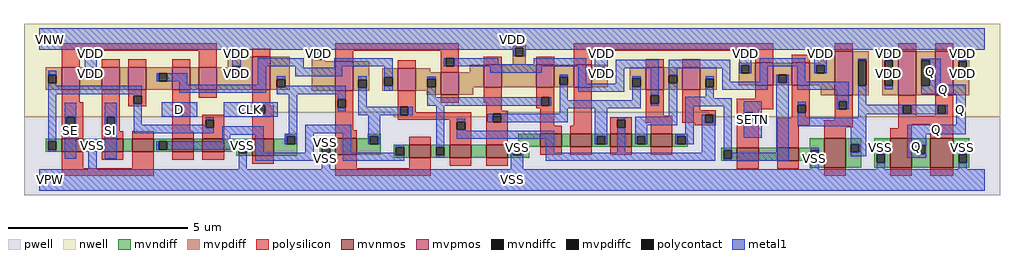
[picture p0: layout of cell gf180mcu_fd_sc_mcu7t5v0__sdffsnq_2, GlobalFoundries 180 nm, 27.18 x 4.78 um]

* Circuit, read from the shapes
.subckt gf180mcu_fd_sc_mcu7t5v0__sdffsnq_2 D SE SETN SI CLK Q VDD VNW VPW VSS
XM1 VSS SE n1 VPW nfet_06v0 w=0.36u l=0.6u
XM2 n2 SI VSS VPW nfet_06v0 w=0.36u l=0.6u
XM3 n3 SE n2 VPW nfet_06v0 w=0.36u l=0.6u
XM4 n4 D n3 VPW nfet_06v0 w=0.36u l=0.6u
XM5 VSS n1 n4 VPW nfet_06v0 w=0.36u l=0.6u
XM6 n5 CLK VSS VPW nfet_06v0 w=0.465u l=0.6u
XM7 n6 n5 VSS VPW nfet_06v0 w=0.465u l=0.6u
XM8 n7 n5 n3 VPW nfet_06v0 w=0.36u l=0.6u
XM9 n8 n6 n7 VPW nfet_06v0 w=0.36u l=0.6u
XM10 VSS n9 n8 VPW nfet_06v0 w=0.36u l=0.6u
XM11 n10 n7 VSS VPW nfet_06v0 w=0.36u l=0.6u
XM12 n9 SETN n10 VPW nfet_06v0 w=0.36u l=0.6u
XM13 n11 n6 n9 VPW nfet_06v0 w=0.36u l=0.6u
XM14 n12 n5 n11 VPW nfet_06v0 w=0.36u l=0.6u
XM15 n13 SETN n12 VPW nfet_06v0 w=0.36u l=0.6u
XM16 VSS n14 n13 VPW nfet_06v0 w=0.36u l=0.6u
XM17 n14 n11 VSS VPW nfet_06v0 w=0.82u l=0.6u
XM18 Q n14 VSS VPW nfet_06v0 w=0.82u l=0.6u
XM19 VSS n14 Q VPW nfet_06v0 w=0.82u l=0.64u
XM20 VDD SE n1 VNW pfet_06v0 w=0.63u l=0.5u
XM21 n15 SI VDD VNW pfet_06v0 w=0.63u l=0.5u
XM22 n16 n1 n15 VNW pfet_06v0 w=0.63u l=0.5u
XM23 n17 D n16 VNW pfet_06v0 w=0.63u l=0.5u
XM24 VDD SE n17 VNW pfet_06v0 w=0.63u l=0.5u
XM25 n5 CLK VDD VNW pfet_06v0 w=0.925u l=0.5u
XM26 n6 n5 VDD VNW pfet_06v0 w=0.815u l=0.5u
XM27 n7 n6 n16 VNW pfet_06v0 w=0.625u l=0.5u
XM28 n18 n5 n7 VNW pfet_06v0 w=0.625u l=0.5u
XM29 VDD n9 n18 VNW pfet_06v0 w=0.625u l=0.5u
XM30 n9 n7 VDD VNW pfet_06v0 w=0.625u l=0.5u
XM31 VDD SETN n9 VNW pfet_06v0 w=0.625u l=0.5u
XM32 n11 n5 n9 VNW pfet_06v0 w=0.625u l=0.5u
XM33 n12 n6 n11 VNW pfet_06v0 w=0.625u l=0.5u
XM34 n12 SETN VDD VNW pfet_06v0 w=0.625u l=0.5u
XM35 VDD n14 n12 VNW pfet_06v0 w=0.625u l=0.5u
XM36 n14 n11 VDD VNW pfet_06v0 w=1.22u l=0.5u
XM37 Q n14 VDD VNW pfet_06v0 w=1.22u l=0.5u m=2
.ends

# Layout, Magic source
magic
tech gf180mcuD
magscale 1 10
<< nwell >>
rect -86 377 5350 870
rect -86 352 1291 377
rect 1974 352 2594 377
rect 3730 352 5350 377
<< pwell >>
rect 1291 352 1974 377
rect 2594 352 3730 377
rect -86 -86 5350 352
<< mvnmos >>
rect 124 156 244 228
rect 348 156 468 228
rect 516 156 636 228
rect 740 156 860 228
rect 908 156 1028 228
rect 1185 135 1305 228
rect 1648 139 1768 232
rect 2060 124 2180 196
rect 2284 124 2404 196
rect 2488 124 2608 196
rect 2788 185 2908 257
rect 2956 185 3076 257
rect 3180 185 3300 257
rect 3404 185 3524 257
rect 3885 106 4005 178
rect 4110 106 4230 178
rect 4370 68 4490 232
rect 4738 68 4858 232
rect 4962 68 5090 232
<< mvpmos >>
rect 124 502 224 628
rect 348 502 448 628
rect 496 502 596 628
rect 740 502 840 628
rect 888 502 988 628
rect 1185 502 1285 687
rect 1648 497 1748 660
rect 1996 497 2096 622
rect 2236 474 2336 599
rect 2476 516 2576 641
rect 2768 516 2868 641
rect 2976 516 3076 641
rect 3377 503 3477 628
rect 3581 503 3681 628
rect 3987 527 4087 652
rect 4191 527 4291 652
rect 4431 472 4531 716
rect 4783 472 4883 716
rect 4990 472 5090 716
<< mvndiff >>
rect 1365 244 1437 257
rect 1365 228 1378 244
rect 36 215 124 228
rect 36 169 49 215
rect 95 169 124 215
rect 36 156 124 169
rect 244 215 348 228
rect 244 169 273 215
rect 319 169 348 215
rect 244 156 348 169
rect 468 156 516 228
rect 636 215 740 228
rect 636 169 665 215
rect 711 169 740 215
rect 636 156 740 169
rect 860 156 908 228
rect 1028 194 1185 228
rect 1028 156 1110 194
rect 1097 148 1110 156
rect 1156 148 1185 194
rect 1097 135 1185 148
rect 1305 198 1378 228
rect 1424 198 1437 244
rect 1828 244 1900 257
rect 1828 232 1841 244
rect 1305 135 1437 198
rect 1560 198 1648 232
rect 1560 152 1573 198
rect 1619 152 1648 198
rect 1560 139 1648 152
rect 1768 198 1841 232
rect 1887 198 1900 244
rect 1768 139 1900 198
rect 2668 196 2788 257
rect 1972 183 2060 196
rect 1972 137 1985 183
rect 2031 137 2060 183
rect 1972 124 2060 137
rect 2180 183 2284 196
rect 2180 137 2209 183
rect 2255 137 2284 183
rect 2180 124 2284 137
rect 2404 124 2488 196
rect 2608 185 2788 196
rect 2908 185 2956 257
rect 3076 244 3180 257
rect 3076 198 3105 244
rect 3151 198 3180 244
rect 3076 185 3180 198
rect 3300 244 3404 257
rect 3300 198 3329 244
rect 3375 198 3404 244
rect 3300 185 3404 198
rect 3524 244 3612 257
rect 3524 198 3553 244
rect 3599 198 3612 244
rect 3524 185 3612 198
rect 2608 183 2728 185
rect 2608 137 2637 183
rect 2683 137 2728 183
rect 4290 178 4370 232
rect 3797 165 3885 178
rect 2608 124 2728 137
rect 3797 119 3810 165
rect 3856 119 3885 165
rect 3797 106 3885 119
rect 4005 106 4110 178
rect 4230 165 4370 178
rect 4230 119 4295 165
rect 4341 119 4370 165
rect 4230 106 4370 119
rect 4290 68 4370 106
rect 4490 199 4578 232
rect 4490 153 4519 199
rect 4565 153 4578 199
rect 4490 68 4578 153
rect 4650 142 4738 232
rect 4650 96 4663 142
rect 4709 96 4738 142
rect 4650 68 4738 96
rect 4858 192 4962 232
rect 4858 146 4887 192
rect 4933 146 4962 192
rect 4858 68 4962 146
rect 5090 142 5178 232
rect 5090 96 5119 142
rect 5165 96 5178 142
rect 5090 68 5178 96
<< mvpdiff >>
rect 1516 716 1588 729
rect 1048 634 1185 687
rect 1048 628 1075 634
rect 36 585 124 628
rect 36 539 49 585
rect 95 539 124 585
rect 36 502 124 539
rect 224 615 348 628
rect 224 569 263 615
rect 309 569 348 615
rect 224 502 348 569
rect 448 502 496 628
rect 596 595 740 628
rect 596 549 665 595
rect 711 549 740 595
rect 596 502 740 549
rect 840 502 888 628
rect 988 588 1075 628
rect 1121 588 1185 634
rect 988 502 1185 588
rect 1285 561 1393 687
rect 1285 515 1322 561
rect 1368 515 1393 561
rect 1285 502 1393 515
rect 1516 670 1529 716
rect 1575 670 1588 716
rect 1516 660 1588 670
rect 2636 735 2708 748
rect 2636 689 2649 735
rect 2695 689 2708 735
rect 1516 497 1648 660
rect 1748 559 1836 660
rect 2636 641 2708 689
rect 1748 513 1777 559
rect 1823 513 1836 559
rect 1748 497 1836 513
rect 1908 571 1996 622
rect 1908 525 1921 571
rect 1967 525 1996 571
rect 1908 497 1996 525
rect 2096 599 2176 622
rect 2396 599 2476 641
rect 2096 562 2236 599
rect 2096 516 2160 562
rect 2206 516 2236 562
rect 2096 497 2236 516
rect 2156 474 2236 497
rect 2336 516 2476 599
rect 2576 516 2768 641
rect 2868 575 2976 641
rect 2868 529 2897 575
rect 2943 529 2976 575
rect 2868 516 2976 529
rect 3076 628 3164 641
rect 4351 652 4431 716
rect 3895 639 3987 652
rect 3076 582 3105 628
rect 3151 582 3164 628
rect 3076 516 3164 582
rect 3289 566 3377 628
rect 3289 520 3302 566
rect 3348 520 3377 566
rect 2336 474 2416 516
rect 3289 503 3377 520
rect 3477 583 3581 628
rect 3477 537 3506 583
rect 3552 537 3581 583
rect 3477 503 3581 537
rect 3681 562 3773 628
rect 3681 516 3710 562
rect 3756 516 3773 562
rect 3895 593 3908 639
rect 3954 593 3987 639
rect 3895 527 3987 593
rect 4087 586 4191 652
rect 4087 540 4116 586
rect 4162 540 4191 586
rect 4087 527 4191 540
rect 4291 639 4431 652
rect 4291 593 4327 639
rect 4373 593 4431 639
rect 4291 527 4431 593
rect 3681 503 3773 516
rect 4351 472 4431 527
rect 4531 665 4619 716
rect 4531 525 4560 665
rect 4606 525 4619 665
rect 4531 472 4619 525
rect 4695 665 4783 716
rect 4695 525 4708 665
rect 4754 525 4783 665
rect 4695 472 4783 525
rect 4883 665 4990 716
rect 4883 525 4912 665
rect 4958 525 4990 665
rect 4883 472 4990 525
rect 5090 660 5178 716
rect 5090 614 5119 660
rect 5165 614 5178 660
rect 5090 472 5178 614
<< mvndiffc >>
rect 49 169 95 215
rect 273 169 319 215
rect 665 169 711 215
rect 1110 148 1156 194
rect 1378 198 1424 244
rect 1573 152 1619 198
rect 1841 198 1887 244
rect 1985 137 2031 183
rect 2209 137 2255 183
rect 3105 198 3151 244
rect 3329 198 3375 244
rect 3553 198 3599 244
rect 2637 137 2683 183
rect 3810 119 3856 165
rect 4295 119 4341 165
rect 4519 153 4565 199
rect 4663 96 4709 142
rect 4887 146 4933 192
rect 5119 96 5165 142
<< mvpdiffc >>
rect 49 539 95 585
rect 263 569 309 615
rect 665 549 711 595
rect 1075 588 1121 634
rect 1322 515 1368 561
rect 1529 670 1575 716
rect 2649 689 2695 735
rect 1777 513 1823 559
rect 1921 525 1967 571
rect 2160 516 2206 562
rect 2897 529 2943 575
rect 3105 582 3151 628
rect 3302 520 3348 566
rect 3506 537 3552 583
rect 3710 516 3756 562
rect 3908 593 3954 639
rect 4116 540 4162 586
rect 4327 593 4373 639
rect 4560 525 4606 665
rect 4708 525 4754 665
rect 4912 525 4958 665
rect 5119 614 5165 660
<< polysilicon >>
rect 124 720 988 760
rect 124 628 224 720
rect 348 628 448 672
rect 496 628 596 672
rect 740 628 840 672
rect 888 628 988 720
rect 1185 687 1285 731
rect 1648 720 2336 760
rect 1648 660 1748 720
rect 2236 678 2336 720
rect 124 432 224 502
rect 124 351 244 432
rect 124 305 150 351
rect 196 305 244 351
rect 124 228 244 305
rect 348 351 448 502
rect 496 469 596 502
rect 496 423 525 469
rect 571 423 596 469
rect 496 410 596 423
rect 348 305 374 351
rect 420 305 448 351
rect 348 272 448 305
rect 740 407 840 502
rect 888 458 988 502
rect 740 361 753 407
rect 799 361 840 407
rect 1185 415 1285 502
rect 1996 622 2096 666
rect 2236 632 2264 678
rect 2310 632 2336 678
rect 2476 641 2576 685
rect 2976 720 4087 760
rect 2768 641 2868 685
rect 2976 641 3076 720
rect 2236 599 2336 632
rect 1185 369 1213 415
rect 1259 413 1285 415
rect 1648 448 1748 497
rect 1259 369 1305 413
rect 740 272 840 361
rect 908 335 1028 363
rect 908 289 926 335
rect 972 289 1028 335
rect 348 228 468 272
rect 516 228 636 272
rect 740 228 860 272
rect 908 228 1028 289
rect 1185 228 1305 369
rect 1648 402 1661 448
rect 1707 402 1748 448
rect 1648 277 1748 402
rect 1996 407 2096 497
rect 3377 628 3477 672
rect 3581 628 3681 672
rect 3987 652 4087 720
rect 4431 716 4531 760
rect 4783 716 4883 760
rect 4990 716 5090 760
rect 4191 652 4291 696
rect 2236 430 2336 474
rect 2476 430 2576 516
rect 1996 361 2009 407
rect 2055 376 2096 407
rect 2488 384 2576 430
rect 2768 459 2868 516
rect 2768 413 2794 459
rect 2840 413 2868 459
rect 2768 400 2868 413
rect 2055 361 2404 376
rect 1996 336 2404 361
rect 2284 324 2404 336
rect 2284 278 2325 324
rect 2371 278 2404 324
rect 124 64 244 156
rect 348 112 468 156
rect 516 64 636 156
rect 740 112 860 156
rect 908 112 1028 156
rect 1648 232 1768 277
rect 2060 196 2180 240
rect 2284 196 2404 278
rect 2488 367 2608 384
rect 2488 321 2526 367
rect 2572 321 2608 367
rect 2488 196 2608 321
rect 2788 301 2868 400
rect 2976 301 3076 516
rect 3377 470 3477 503
rect 3377 424 3404 470
rect 3450 424 3477 470
rect 3377 357 3477 424
rect 3581 389 3681 503
rect 3987 451 4087 527
rect 3885 393 4087 451
rect 4191 419 4291 527
rect 3581 363 3766 389
rect 2788 257 2908 301
rect 2956 257 3076 301
rect 3180 336 3300 349
rect 3180 290 3218 336
rect 3264 290 3300 336
rect 3377 317 3524 357
rect 3581 317 3707 363
rect 3753 317 3766 363
rect 3180 257 3300 290
rect 3404 257 3524 317
rect 3650 304 3766 317
rect 3885 377 4005 393
rect 3885 331 3931 377
rect 3977 331 4005 377
rect 4191 373 4223 419
rect 4269 373 4291 419
rect 4191 345 4291 373
rect 1185 91 1305 135
rect 124 24 636 64
rect 1648 64 1768 139
rect 2788 141 2908 185
rect 2956 141 3076 185
rect 3180 141 3300 185
rect 3404 141 3524 185
rect 3885 178 4005 331
rect 4110 305 4291 345
rect 4431 438 4531 472
rect 4431 392 4451 438
rect 4497 392 4531 438
rect 4431 332 4531 392
rect 4110 178 4230 305
rect 4370 292 4531 332
rect 4783 415 4883 472
rect 4783 369 4809 415
rect 4855 369 4883 415
rect 4783 357 4883 369
rect 4990 415 5090 472
rect 4990 369 5003 415
rect 5049 369 5090 415
rect 4990 357 5090 369
rect 4783 311 5090 357
rect 4370 232 4490 292
rect 4783 288 4858 311
rect 4738 232 4858 288
rect 4962 232 5090 311
rect 2060 64 2180 124
rect 2284 80 2404 124
rect 2488 80 2608 124
rect 1648 24 2180 64
rect 3885 62 4005 106
rect 4110 62 4230 106
rect 4370 24 4490 68
rect 4738 24 4858 68
rect 4962 24 5090 68
<< polycontact >>
rect 150 305 196 351
rect 525 423 571 469
rect 374 305 420 351
rect 753 361 799 407
rect 2264 632 2310 678
rect 1213 369 1259 415
rect 926 289 972 335
rect 1661 402 1707 448
rect 2009 361 2055 407
rect 2794 413 2840 459
rect 2325 278 2371 324
rect 2526 321 2572 367
rect 3404 424 3450 470
rect 3218 290 3264 336
rect 3707 317 3753 363
rect 3931 331 3977 377
rect 4223 373 4269 419
rect 4451 392 4497 438
rect 4809 369 4855 415
rect 5003 369 5049 415
<< metal1 >>
rect 0 735 5264 844
rect 0 724 2649 735
rect 252 615 320 724
rect 49 585 95 608
rect 252 569 263 615
rect 309 569 320 615
rect 1075 634 1121 724
rect 1518 716 1586 724
rect 654 549 665 595
rect 711 549 824 595
rect 1075 577 1121 588
rect 1217 632 1472 678
rect 1518 670 1529 716
rect 1575 670 1586 716
rect 2638 689 2649 724
rect 2695 724 5264 735
rect 2695 689 2706 724
rect 49 523 95 539
rect 778 531 824 549
rect 1217 531 1263 632
rect 1426 624 1472 632
rect 1641 632 1967 678
rect 2253 632 2264 678
rect 2310 643 2556 678
rect 2752 643 3046 678
rect 2310 632 3046 643
rect 1641 624 1687 632
rect 1426 578 1687 624
rect 49 477 571 523
rect 778 484 1263 531
rect 1322 561 1368 578
rect 1777 559 1823 578
rect 1368 515 1707 524
rect 1322 477 1707 515
rect 49 215 95 477
rect 525 469 571 477
rect 49 156 95 169
rect 141 351 206 430
rect 141 305 150 351
rect 196 305 206 351
rect 141 119 206 305
rect 365 351 430 430
rect 365 305 374 351
rect 420 305 430 351
rect 273 215 319 228
rect 273 60 319 169
rect 365 119 430 305
rect 525 307 571 423
rect 682 407 878 431
rect 682 361 753 407
rect 799 361 878 407
rect 682 353 878 361
rect 1026 415 1326 431
rect 1026 369 1213 415
rect 1259 369 1326 415
rect 1026 353 1326 369
rect 926 335 972 348
rect 525 289 926 307
rect 525 261 972 289
rect 1018 252 1248 298
rect 1389 255 1435 477
rect 1661 448 1707 477
rect 1661 382 1707 402
rect 1777 407 1823 513
rect 1921 571 1967 632
rect 2510 597 2798 632
rect 2897 575 2943 586
rect 1921 497 1967 525
rect 2160 562 2206 574
rect 2160 459 2206 516
rect 2160 413 2794 459
rect 2840 413 2851 459
rect 2897 444 2943 529
rect 3000 536 3046 632
rect 3092 628 3164 724
rect 3092 582 3105 628
rect 3151 582 3164 628
rect 3210 623 3450 669
rect 3210 536 3256 623
rect 3000 490 3256 536
rect 3302 566 3348 577
rect 3302 444 3348 520
rect 1777 361 2009 407
rect 2055 361 2078 407
rect 1777 360 2078 361
rect 1018 215 1064 252
rect 650 169 665 215
rect 711 169 1064 215
rect 1110 194 1156 205
rect 1110 60 1156 148
rect 1202 152 1248 252
rect 1367 244 1435 255
rect 1367 198 1378 244
rect 1424 198 1435 244
rect 1481 259 1736 306
rect 1481 152 1527 259
rect 1202 106 1527 152
rect 1573 198 1619 209
rect 1573 60 1619 152
rect 1690 152 1736 259
rect 1830 244 1898 360
rect 1830 198 1841 244
rect 1887 198 1898 244
rect 1985 183 2031 196
rect 1690 137 1985 152
rect 1690 106 2031 137
rect 2209 183 2255 413
rect 2897 398 3348 444
rect 3404 470 3450 623
rect 3404 413 3450 424
rect 3506 623 3848 669
rect 3506 583 3552 623
rect 2897 367 2943 398
rect 2325 324 2371 340
rect 2495 321 2526 367
rect 2572 321 2943 367
rect 2325 275 2371 278
rect 2325 229 2866 275
rect 2209 124 2255 137
rect 2624 137 2637 183
rect 2683 137 2696 183
rect 2624 60 2696 137
rect 2820 152 2866 229
rect 3094 244 3162 398
rect 3506 352 3552 537
rect 3710 562 3756 577
rect 3710 463 3756 516
rect 3802 547 3848 623
rect 3897 639 3965 724
rect 3897 593 3908 639
rect 3954 593 3965 639
rect 4011 632 4266 678
rect 4011 547 4057 632
rect 3802 501 4057 547
rect 4105 540 4116 586
rect 4162 540 4173 586
rect 3094 198 3105 244
rect 3151 198 3162 244
rect 3218 336 3264 348
rect 3218 152 3264 290
rect 3318 305 3552 352
rect 3598 455 3756 463
rect 3598 409 3856 455
rect 3318 244 3386 305
rect 3598 253 3644 409
rect 3318 198 3329 244
rect 3375 198 3386 244
rect 3542 244 3644 253
rect 3542 198 3553 244
rect 3599 198 3644 244
rect 3690 317 3707 363
rect 3753 317 3764 363
rect 3690 152 3764 317
rect 2820 106 3764 152
rect 3810 165 3856 409
rect 3924 377 4022 438
rect 3924 331 3931 377
rect 3977 331 4022 377
rect 3924 234 4022 331
rect 4105 152 4173 540
rect 4220 547 4266 632
rect 4316 639 4384 724
rect 4316 593 4327 639
rect 4373 593 4384 639
rect 4560 665 4606 676
rect 4220 501 4508 547
rect 4440 438 4508 501
rect 4223 419 4269 434
rect 4440 392 4451 438
rect 4497 392 4508 438
rect 4560 419 4606 525
rect 4708 665 4754 724
rect 4708 506 4754 525
rect 4911 665 5020 676
rect 4911 525 4912 665
rect 4958 531 5020 665
rect 5119 660 5165 724
rect 5119 589 5165 614
rect 4958 525 5159 531
rect 4911 476 5159 525
rect 4560 415 5060 419
rect 4223 345 4269 373
rect 4560 369 4809 415
rect 4855 369 5003 415
rect 5049 369 5060 415
rect 4560 365 5060 369
rect 4560 345 4606 365
rect 4223 299 4606 345
rect 5106 307 5159 476
rect 4519 199 4606 299
rect 3856 119 4173 152
rect 3810 106 4173 119
rect 4295 165 4341 178
rect 4565 153 4606 199
rect 4834 253 5159 307
rect 4834 192 4939 253
rect 4519 131 4606 153
rect 4663 142 4709 181
rect 4295 60 4341 119
rect 4834 146 4887 192
rect 4933 146 4939 192
rect 4834 122 4939 146
rect 5119 142 5165 181
rect 4663 60 4709 96
rect 5119 60 5165 96
rect 0 -60 5264 60
<< labels >>
flabel metal1 s 4911 531 5020 676 0 FreeSans 400 0 0 0 Q
port 6 nsew default output
flabel metal1 s 141 119 206 430 0 FreeSans 400 0 0 0 SE
port 2 nsew default input
flabel metal1 s 3924 234 4022 438 0 FreeSans 400 0 0 0 SETN
port 3 nsew default input
flabel metal1 s 365 119 430 430 0 FreeSans 400 0 0 0 SI
port 4 nsew default input
flabel metal1 s 0 724 5264 844 0 FreeSans 400 0 0 0 VDD
port 7 nsew power bidirectional abutment
flabel metal1 s 273 209 319 228 0 FreeSans 400 0 0 0 VSS
port 10 nsew ground bidirectional abutment
flabel metal1 s 1026 353 1326 431 0 FreeSans 400 0 0 0 CLK
port 5 nsew clock input
flabel metal1 s 682 353 878 431 0 FreeSans 400 0 0 0 D
port 1 nsew default input
flabel nwell s 10 734 110 834 0 FreeSans 400 0 0 0 VNW
port 8 nsew power bidirectional
flabel pwell s 10 -50 110 50 0 FreeSans 400 0 0 0 VPW
port 9 nsew ground bidirectional
rlabel metal1 s 4911 476 5159 531 1 Q
port 6 nsew default output
rlabel metal1 s 5106 307 5159 476 1 Q
port 6 nsew default output
rlabel metal1 s 4834 253 5159 307 1 Q
port 6 nsew default output
rlabel metal1 s 4834 122 4939 253 1 Q
port 6 nsew default output
rlabel metal1 s 5119 689 5165 724 1 VDD
port 7 nsew power bidirectional abutment
rlabel metal1 s 4708 689 4754 724 1 VDD
port 7 nsew power bidirectional abutment
rlabel metal1 s 4316 689 4384 724 1 VDD
port 7 nsew power bidirectional abutment
rlabel metal1 s 3897 689 3965 724 1 VDD
port 7 nsew power bidirectional abutment
rlabel metal1 s 3092 689 3164 724 1 VDD
port 7 nsew power bidirectional abutment
rlabel metal1 s 2638 689 2706 724 1 VDD
port 7 nsew power bidirectional abutment
rlabel metal1 s 1518 689 1586 724 1 VDD
port 7 nsew power bidirectional abutment
rlabel metal1 s 1075 689 1121 724 1 VDD
port 7 nsew power bidirectional abutment
rlabel metal1 s 252 689 320 724 1 VDD
port 7 nsew power bidirectional abutment
rlabel metal1 s 5119 670 5165 689 1 VDD
port 7 nsew power bidirectional abutment
rlabel metal1 s 4708 670 4754 689 1 VDD
port 7 nsew power bidirectional abutment
rlabel metal1 s 4316 670 4384 689 1 VDD
port 7 nsew power bidirectional abutment
rlabel metal1 s 3897 670 3965 689 1 VDD
port 7 nsew power bidirectional abutment
rlabel metal1 s 3092 670 3164 689 1 VDD
port 7 nsew power bidirectional abutment
rlabel metal1 s 1518 670 1586 689 1 VDD
port 7 nsew power bidirectional abutment
rlabel metal1 s 1075 670 1121 689 1 VDD
port 7 nsew power bidirectional abutment
rlabel metal1 s 252 670 320 689 1 VDD
port 7 nsew power bidirectional abutment
rlabel metal1 s 5119 593 5165 670 1 VDD
port 7 nsew power bidirectional abutment
rlabel metal1 s 4708 593 4754 670 1 VDD
port 7 nsew power bidirectional abutment
rlabel metal1 s 4316 593 4384 670 1 VDD
port 7 nsew power bidirectional abutment
rlabel metal1 s 3897 593 3965 670 1 VDD
port 7 nsew power bidirectional abutment
rlabel metal1 s 3092 593 3164 670 1 VDD
port 7 nsew power bidirectional abutment
rlabel metal1 s 1075 593 1121 670 1 VDD
port 7 nsew power bidirectional abutment
rlabel metal1 s 252 593 320 670 1 VDD
port 7 nsew power bidirectional abutment
rlabel metal1 s 5119 589 5165 593 1 VDD
port 7 nsew power bidirectional abutment
rlabel metal1 s 4708 589 4754 593 1 VDD
port 7 nsew power bidirectional abutment
rlabel metal1 s 3092 589 3164 593 1 VDD
port 7 nsew power bidirectional abutment
rlabel metal1 s 1075 589 1121 593 1 VDD
port 7 nsew power bidirectional abutment
rlabel metal1 s 252 589 320 593 1 VDD
port 7 nsew power bidirectional abutment
rlabel metal1 s 4708 582 4754 589 1 VDD
port 7 nsew power bidirectional abutment
rlabel metal1 s 3092 582 3164 589 1 VDD
port 7 nsew power bidirectional abutment
rlabel metal1 s 1075 582 1121 589 1 VDD
port 7 nsew power bidirectional abutment
rlabel metal1 s 252 582 320 589 1 VDD
port 7 nsew power bidirectional abutment
rlabel metal1 s 4708 577 4754 582 1 VDD
port 7 nsew power bidirectional abutment
rlabel metal1 s 1075 577 1121 582 1 VDD
port 7 nsew power bidirectional abutment
rlabel metal1 s 252 577 320 582 1 VDD
port 7 nsew power bidirectional abutment
rlabel metal1 s 4708 569 4754 577 1 VDD
port 7 nsew power bidirectional abutment
rlabel metal1 s 252 569 320 577 1 VDD
port 7 nsew power bidirectional abutment
rlabel metal1 s 4708 506 4754 569 1 VDD
port 7 nsew power bidirectional abutment
rlabel metal1 s 1573 205 1619 209 1 VSS
port 10 nsew ground bidirectional abutment
rlabel metal1 s 273 205 319 209 1 VSS
port 10 nsew ground bidirectional abutment
rlabel metal1 s 1573 183 1619 205 1 VSS
port 10 nsew ground bidirectional abutment
rlabel metal1 s 1110 183 1156 205 1 VSS
port 10 nsew ground bidirectional abutment
rlabel metal1 s 273 183 319 205 1 VSS
port 10 nsew ground bidirectional abutment
rlabel metal1 s 2624 181 2696 183 1 VSS
port 10 nsew ground bidirectional abutment
rlabel metal1 s 1573 181 1619 183 1 VSS
port 10 nsew ground bidirectional abutment
rlabel metal1 s 1110 181 1156 183 1 VSS
port 10 nsew ground bidirectional abutment
rlabel metal1 s 273 181 319 183 1 VSS
port 10 nsew ground bidirectional abutment
rlabel metal1 s 5119 178 5165 181 1 VSS
port 10 nsew ground bidirectional abutment
rlabel metal1 s 4663 178 4709 181 1 VSS
port 10 nsew ground bidirectional abutment
rlabel metal1 s 2624 178 2696 181 1 VSS
port 10 nsew ground bidirectional abutment
rlabel metal1 s 1573 178 1619 181 1 VSS
port 10 nsew ground bidirectional abutment
rlabel metal1 s 1110 178 1156 181 1 VSS
port 10 nsew ground bidirectional abutment
rlabel metal1 s 273 178 319 181 1 VSS
port 10 nsew ground bidirectional abutment
rlabel metal1 s 5119 60 5165 178 1 VSS
port 10 nsew ground bidirectional abutment
rlabel metal1 s 4663 60 4709 178 1 VSS
port 10 nsew ground bidirectional abutment
rlabel metal1 s 4295 60 4341 178 1 VSS
port 10 nsew ground bidirectional abutment
rlabel metal1 s 2624 60 2696 178 1 VSS
port 10 nsew ground bidirectional abutment
rlabel metal1 s 1573 60 1619 178 1 VSS
port 10 nsew ground bidirectional abutment
rlabel metal1 s 1110 60 1156 178 1 VSS
port 10 nsew ground bidirectional abutment
rlabel metal1 s 273 60 319 178 1 VSS
port 10 nsew ground bidirectional abutment
rlabel metal1 s 0 -60 5264 60 1 VSS
port 10 nsew ground bidirectional abutment
<< properties >>
string FIXED_BBOX 0 0 5264 784
string GDS_END 304060
string GDS_FILE $PDKPATH/libs.ref/gf180mcu_fd_sc_mcu7t5v0/gds/gf180mcu_fd_sc_mcu7t5v0.gds
string GDS_START 292556
string LEFclass core
string LEFsite GF018hv5v_mcu_sc7
string LEFsymmetry X Y
<< end >>
